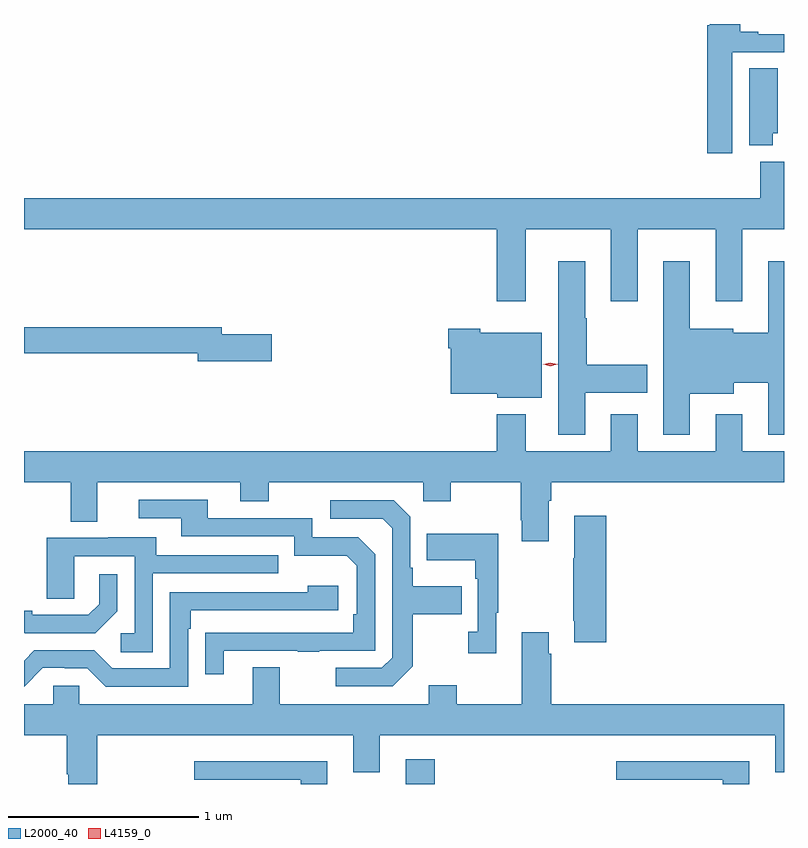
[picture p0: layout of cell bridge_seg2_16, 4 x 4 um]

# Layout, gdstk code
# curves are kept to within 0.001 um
import gdstk
lib = gdstk.Library(unit=1e-6, precision=1e-09)
def R(c, l, rs):  # rectangles x0, y0, x1, y1
    for r in rs: c.add(gdstk.rectangle(r[:2], r[2:], *l))
def P(c, l, *ps):  # polygons
    for p in ps: c.add(gdstk.Polygon(p, *l))
L2000_40 = (2000, 40)
L4159_0 = (4159, 0)

bridge_seg2_16 = lib.new_cell('bridge_seg2_16')
R(bridge_seg2_16, L2000_40, [(683.921,607.42,684.074,607.549)])
P(bridge_seg2_16, L2000_40, [(685.639,611.271),(685.912,611.271),(685.912,611.367),(685.777,611.367),(685.777,611.38),(685.681,611.38),(685.681,611.42),(685.52,611.42),(685.52,611.414),(685.508,611.414),(685.508,610.74),(685.639,610.74)],
  [(685.852,610.845),(685.879,610.845),(685.879,611.186),(685.73,611.186),(685.73,610.781),(685.852,610.781)],
  [(684.553,610.34),(685.001,610.34),(685.001,609.96),(685.141,609.96),(685.141,610.34),(685.553,610.34),(685.553,609.96),(685.693,609.96),(685.693,610.34),(685.912,610.34),(685.912,610.696),(685.787,610.696),(685.787,610.504),(681.912,610.504),(681.912,610.34),(684.401,610.34),(684.401,609.96),(684.553,609.96)],
  [(685.417,609.473),(685.648,609.473),(685.648,609.533),(685.829,609.533),(685.829,609.258),(685.912,609.258),(685.912,610.171),(685.829,610.171),(685.829,609.796),(685.644,609.796),(685.644,609.817),(685.417,609.817),(685.417,610.171),(685.277,610.171),(685.277,609.258),(685.417,609.258)],
  [(684.865,609.479),(685.192,609.479),(685.192,609.627),(684.873,609.627),(684.873,609.872),(684.865,609.872),(684.865,610.171),(684.725,610.171),(684.725,609.258),(684.865,609.258)],
  [(683.215,609.788),(682.954,609.788),(682.954,609.824),(681.912,609.824),(681.912,609.688),(682.826,609.688),(682.826,609.646),(683.215,609.646)],
  [(684.637,609.796),(684.312,609.796),(684.312,609.817),(684.146,609.817),(684.146,609.713),(684.158,609.713),(684.158,609.473),(684.402,609.473),(684.402,609.452),(684.637,609.452)],
  [(684.673,608.912),(684.686,608.912),(684.686,609.008),(685.912,609.008),(685.912,609.172),(685.693,609.172),(685.693,609.367),(685.553,609.367),(685.553,609.172),(685.141,609.172),(685.141,609.367),(685.001,609.367),(685.001,609.172),(684.553,609.172),(684.553,609.367),(684.401,609.367),(684.401,609.172),(681.912,609.172),(681.912,609.008),(682.157,609.008),(682.157,608.8),(682.297,608.8),(682.297,609.008),(683.051,609.008),(683.051,608.909),(683.199,608.909),(683.199,609.008),(684.012,609.008),(684.012,608.909),(684.159,608.909),(684.159,609.008),(684.526,609.008),(684.526,608.809),(684.533,608.809),(684.533,608.697),(684.673,608.697)],
  [(682.963,608.121),(683.353,608.121),(683.353,608.116),(683.465,608.116),(683.465,608.121),(683.76,608.121),(683.76,608.628),(683.67,608.718),(683.43,608.718),(683.43,608.82),(682.879,608.82),(682.879,608.916),(682.515,608.916),(682.515,608.82),(682.739,608.82),(682.739,608.724),(683.334,608.724),(683.334,608.621),(683.611,608.621),(683.664,608.568),(683.664,608.314),(683.644,608.314),(683.644,608.217),(682.867,608.216),(682.867,607.998),(682.963,607.998)],
  [(683.959,608.041),(683.959,608.314),(684.215,608.314),(684.215,608.461),(683.959,608.461),(683.959,608.557),(683.946,608.557),(683.946,608.826),(683.859,608.913),(683.523,608.913),(683.523,608.817),(683.799,608.817),(683.85,608.766),(683.85,608.085),(683.796,608.031),(683.553,608.031),(683.553,607.935),(683.853,607.935)],
  [(684.977,608.833),(684.809,608.833),(684.809,608.609),(684.802,608.609),(684.802,608.278),(684.809,608.278),(684.809,608.166),(684.977,608.166)],
  [(684.397,608.321),(684.409,608.321),(684.409,608.737),(684.031,608.737),(684.031,608.597),(684.288,608.597),(684.288,608.501),(684.3,608.501),(684.3,608.222),(684.249,608.222),(684.249,608.109),(684.397,608.109)],
  [(682.59,608.529),(683.249,608.529),(683.249,608.625),(682.609,608.625),(682.609,608.719),(682.355,608.719),(682.355,608.715),(682.031,608.715),(682.031,608.395),(682.176,608.395),(682.176,608.619),(682.494,608.619),(682.494,608.214),(682.422,608.214),(682.422,608.113),(682.59,608.113)],
  [(682.404,608.33),(682.404,608.524),(682.307,608.524),(682.307,608.367),(682.25,608.31),(681.955,608.31),(681.955,608.333),(681.912,608.333),(681.912,608.217),(681.916,608.217),(681.916,608.214),(682.288,608.214)],
  [(682.776,608.237),(682.789,608.237),(682.789,608.334),(683.566,608.334),(683.566,608.464),(683.405,608.464),(683.405,608.43),(682.68,608.43),(682.68,608.028),(682.377,608.028),(682.281,608.124),(681.966,608.124),(681.912,608.07),(681.912,607.932),(682.011,608.031),(682.127,608.031),(682.127,608.028),(682.245,608.028),(682.341,607.932),(682.776,607.932)],
  [(682.065,607.84),(681.912,607.84),(681.912,607.676),(682.138,607.676),(682.138,607.472),(682.145,607.472),(682.145,607.42),(682.298,607.42),(682.298,607.676),(683.645,607.676),(683.645,607.482),(683.785,607.482),(683.785,607.676),(685.865,607.676),(685.865,607.482),(685.912,607.482),(685.912,607.84),(684.686,607.84),(684.686,608.105),(684.673,608.105),(684.673,608.218),(684.533,608.218),(684.533,607.84),(684.189,607.84),(684.189,607.939),(684.041,607.939),(684.041,607.84),(683.257,607.84),(683.257,608.035),(683.117,608.035),(683.117,607.84),(682.203,607.84),(682.203,607.938),(682.065,607.938)],
  [(683.509,607.54),(682.809,607.54),(682.809,607.443),(683.369,607.443),(683.369,607.42),(683.509,607.42)],
  [(685.729,607.54),(685.029,607.54),(685.029,607.443),(685.589,607.443),(685.589,607.42),(685.729,607.42)])
P(bridge_seg2_16, L4159_0, [(684.682,609.618),(684.644,609.628),(684.643,609.628),(684.644,609.628),(684.682,609.638),(684.72,609.629),(684.72,609.628),(684.72,609.628)])

lib.write_gds('bridge_seg2_16.gds')
